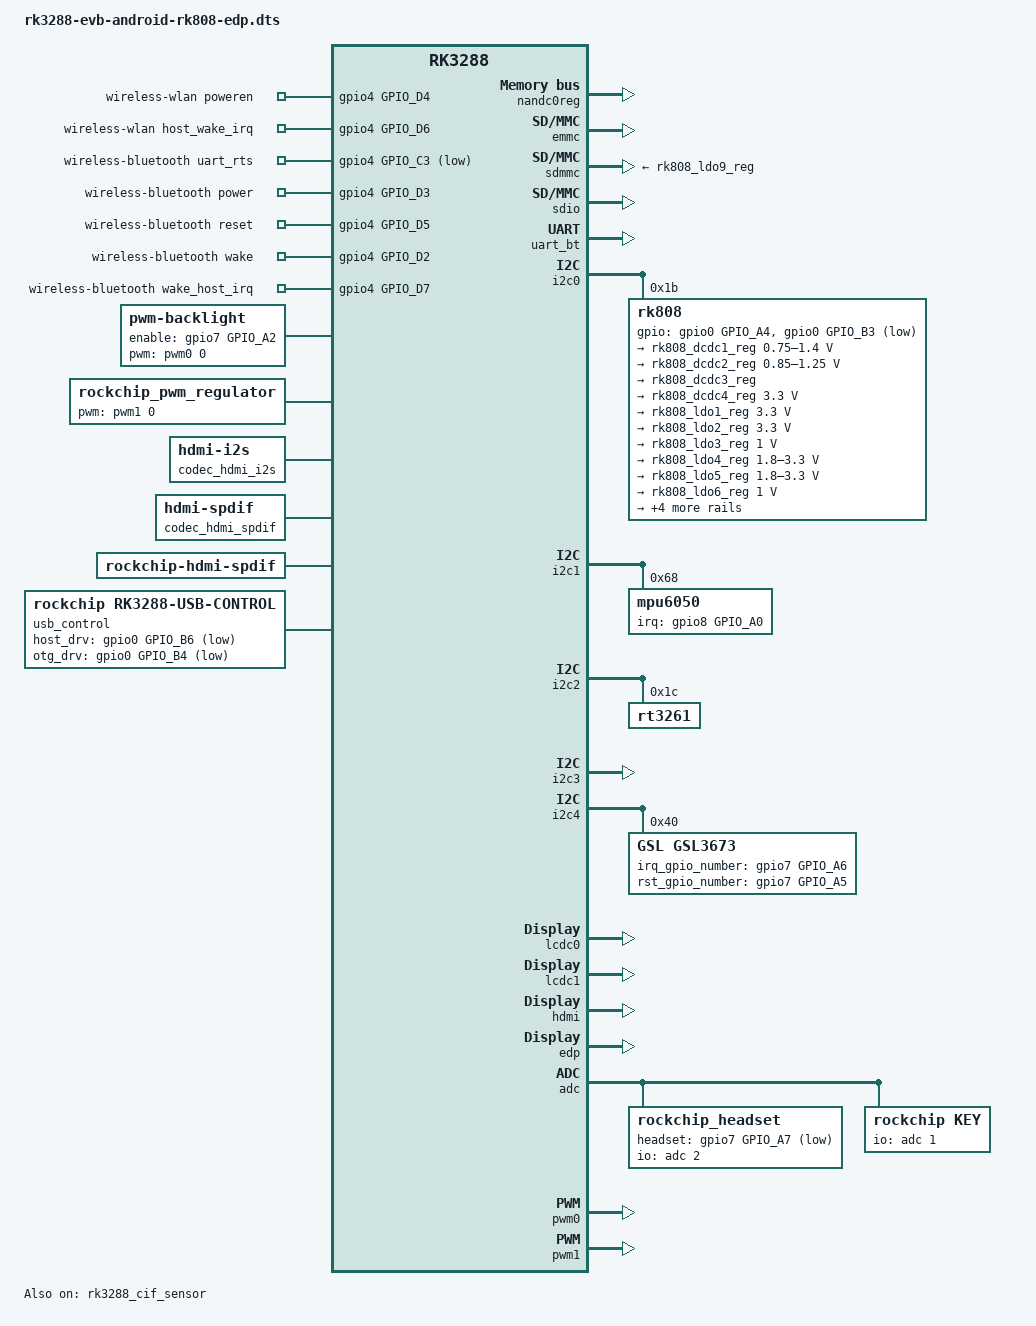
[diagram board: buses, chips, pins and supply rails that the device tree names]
// SPDX-License-Identifier: (GPL-2.0+ OR MIT)
/dts-v1/;

#include "rk3288.dtsi"
#include "lcd-F402.dtsi"
#include "rk3288-cif-sensor.dtsi"
/ {
	chosen {
		bootargs = "vmalloc=512M";
	};

	fiq-debugger {
		status = "okay";
	};

	wireless-wlan {
		compatible = "wlan-platdata";

		/* wifi_chip_type - wifi chip define
		 * ap6210, ap6330, ap6335
		 * rtl8188eu, rtl8723bs, rtl8723bu
		 * esp8089
		 */
		wifi_chip_type = "ap6335";

		sdio_vref = <1800>; //1800mv or 3300mv

		WIFI,poweren_gpio = <&gpio4 GPIO_D4 GPIO_ACTIVE_HIGH>;
		WIFI,host_wake_irq = <&gpio4 GPIO_D6 GPIO_ACTIVE_HIGH>;

		status = "okay";
	};

	wireless-bluetooth {
		compatible = "bluetooth-platdata";

		uart_rts_gpios = <&gpio4 GPIO_C3 GPIO_ACTIVE_LOW>;
		pinctrl-names = "default","rts_gpio";
		pinctrl-0 = <&uart0_rts>;
		pinctrl-1 = <&uart0_rts_gpio>;

		BT,power_gpio = <&gpio4 GPIO_D3 GPIO_ACTIVE_HIGH>;
		BT,reset_gpio = <&gpio4 GPIO_D5 GPIO_ACTIVE_HIGH>;
		BT,wake_gpio = <&gpio4 GPIO_D2 GPIO_ACTIVE_HIGH>;
		BT,wake_host_irq = <&gpio4 GPIO_D7 GPIO_ACTIVE_HIGH>;

		status = "okay";
	};

	backlight: backlight {
		compatible = "pwm-backlight";
		pwms = <&pwm0 0 25000>;
		brightness-levels = <
			  0   1   2   3   4   5   6   7
			  8   9  10  11  12  13  14  15
			 16  17  18  19  20  21  22  23
			 24  25  26  27  28  29  30  31
			 32  33  34  35  36  37  38  39
			 40  41  42  43  44  45  46  47
			 48  49  50  51  52  53  54  55
			 56  57  58  59  60  61  62  63
			 64  65  66  67  68  69  70  71
			 72  73  74  75  76  77  78  79
			 80  81  82  83  84  85  86  87
			 88  89  90  91  92  93  94  95
			 96  97  98  99 100 101 102 103
			104 105 106 107 108 109 110 111
			112 113 114 115 116 117 118 119
			120 121 122 123 124 125 126 127
			128 129 130 131 132 133 134 135
			136 137 138 139 140 141 142 143
			144 145 146 147 148 149 150 151
			152 153 154 155 156 157 158 159
			160 161 162 163 164 165 166 167
			168 169 170 171 172 173 174 175
			176 177 178 179 180 181 182 183
			184 185 186 187 188 189 190 191
			192 193 194 195 196 197 198 199
			200 201 202 203 204 205 206 207
			208 209 210 211 212 213 214 215
			216 217 218 219 220 221 222 223
			224 225 226 227 228 229 230 231
			232 233 234 235 236 237 238 239
			240 241 242 243 244 245 246 247
			248 249 250 251 252 253 254 255>;
		default-brightness-level = <128>;
		enable-gpios = <&gpio7 GPIO_A2 GPIO_ACTIVE_HIGH>;
	};

	pwm_regulator {
		compatible = "rockchip_pwm_regulator";
		status = "okay";
		pwms = <&pwm1 0 2000>;
		rockchip,pwm_id= <1>;
		rockchip,pwm_voltage_map= <925000 950000 975000
								   1000000 1025000
								   1050000 1075000
								   1100000 1125000
								   1150000 1175000
								   1200000 1225000
								   1250000 1275000
								   1300000 1325000
								   1350000 1375000
								   1400000>;
		rockchip,pwm_voltage= <1000000>;
		rockchip,pwm_min_voltage= <925000>;
		rockchip,pwm_max_voltage= <1400000>;
		rockchip,pwm_suspend_voltage= <950000>;
		rockchip,pwm_coefficient= <475>;
		regulators {
			#address-cells = <1>;
			#size-cells = <0>;
			pwm_reg0: regulator@0 {
				regulator-compatible = "pwm_dcdc1";
				regulator-name= "vdd_logic";
				regulator-min-microvolt = <925000>;
				regulator-max-microvolt = <1400000>;
				regulator-always-on;
				regulator-boot-on;
			};
		};
	};

	codec_hdmi_i2s: codec-hdmi-i2s {
		compatible = "hdmi-i2s";
	};

	codec_hdmi_spdif: codec-hdmi-spdif {
		compatible = "hdmi-spdif";
	};

	rockchip-hdmi-i2s {
		compatible = "rockchip-hdmi-i2s";
		dais {
			dai0 {
				audio-codec = <&codec_hdmi_i2s>;
				audio-controller = <&i2s>;
				format = "i2s";
			};
		};
	};

	rockchip-hdmi-spdif {
		compatible = "rockchip-hdmi-spdif";
		dais {
			dai0 {
				audio-codec = <&codec_hdmi_spdif>;
				audio-controller = <&spdif>;
			};
		};
	};

	rockchip-rt3224 {
		compatible = "rockchip-rt3261";
		dais {
			dai0 {
				audio-codec = <&rt3261>;
				audio-controller = <&i2s>;
				format = "i2s";
				//continuous-clock;
				//bitclock-inversion;
				//frame-inversion;
				//bitclock-master;
				//frame-master;
			};
			dai1 {
				audio-codec = <&rt3261>;
				audio-controller = <&i2s>;
				format = "dsp_a";
				//continuous-clock;
				bitclock-inversion;
				//frame-inversion;
				//bitclock-master;
				//frame-master;
			};
		};
	};

	usb_control {
		compatible = "rockchip,rk3288-usb-control";

		host_drv_gpio = <&gpio0 GPIO_B6 GPIO_ACTIVE_LOW>;
		otg_drv_gpio = <&gpio0 GPIO_B4 GPIO_ACTIVE_LOW>;

		rockchip,remote_wakeup;
		rockchip,usb_irq_wakeup;
	};

	test-power{
		status = "okay";
	};
};

&gmac {
	power-gpio = <&gpio0 GPIO_A6 GPIO_ACTIVE_HIGH>;
	phy-mode = "rgmii";
	clock_in_out = "input";
	tx_delay = <0x28>;
	rx_delay = <0x10>;
	status = "disabled"; //if want to use gmac, please set "okay"
};

&pinctrl {
	/* used for init some gpio */
	init-gpios = <&gpio0 GPIO_A6 GPIO_ACTIVE_HIGH>,
		     <&gpio7 GPIO_B0 GPIO_ACTIVE_HIGH>;

	gpio0_gpio {
		gpio0_c2: gpio0-c2 {
			rockchip,pins = <GPIO0_C2>;
			rockchip,pull = <VALUE_PULL_DOWN>;
		};
	};

	gpio7_gpio {
		gpio7_a7: gpio7-a7 {
			rockchip,pins = <GPIO7_A7>;
			rockchip,pull = <VALUE_PULL_DOWN>;
		};
	};

	/* could add other pinctrl definition such as gpio */

	/* gmac drive strength */
	gpio4_gmac {
		mac_clk: mac-clk {
			rockchip,drive = <VALUE_DRV_12MA>;
		};

		mac_txpins: mac-txpins {
			rockchip,drive = <VALUE_DRV_12MA>;
		};

		mac_rxpins: mac-rxpins {
			rockchip,drive = <VALUE_DRV_12MA>;
		};

		mac_crs: mac-crs {
			rockchip,drive = <VALUE_DRV_12MA>;
		};

		mac_mdpins: mac-mdpins {
			rockchip,drive = <VALUE_DRV_12MA>;
		};
	};
};

&nandc0 {
	status = "disabled";
};

&nandc1 {
	status = "disabled";
};

&nandc0reg {
	status = "okay";
};

&emmc {
	clock-frequency = <100000000>;
	clock-freq-min-max = <400000 100000000>;

	supports-highspeed;
	supports-emmc;
	//supports-sd;
	bootpart-no-access;

	/* you should set below two value in your project.
	 * only close in RK3288-SDK board.
	 */
	//supports-DDR_MODE;
	//caps2-mmc-hs200;

	ignore-pm-notify;
	keep-power-in-suspend;

	//poll-hw-reset
	status = "okay";
};

&sdmmc {
	clock-frequency = <50000000>;
	clock-freq-min-max = <400000 50000000>;
	supports-highspeed;
	supports-sd;
	broken-cd;
	card-detect-delay = <200>;

	ignore-pm-notify;
	keep-power-in-suspend;

	vmmc-supply = <&rk808_ldo9_reg>;
	status = "okay";
};

&sdio {
	clock-frequency = <50000000>;
	clock-freq-min-max = <200000 50000000>;
	supports-highspeed;
	supports-sdio;
	ignore-pm-notify;
	keep-power-in-suspend;
	//cap-sdio-irq;
	status = "okay";
};

&spi0 {
	status = "disabled";
	max-freq = <48000000>;

	spi_test@00 {
		compatible = "rockchip,spi_test_bus0_cs0";
		status = "disabled";
		reg = <0>;
		spi-max-frequency = <24000000>;
		//spi-cpha;
		//spi-cpol;
		poll_mode = <0>;
		type = <0>;
		enable_dma = <0>;
	};

	spi_test@01 {
		compatible = "rockchip,spi_test_bus0_cs1";
		status = "disabled";
		reg = <1>;
		spi-max-frequency = <24000000>;
		spi-cpha;
		spi-cpol;
		poll_mode = <0>;
		type = <0>;
		enable_dma = <0>;
	};
};

&spi1 {
	status = "disabled";
	max-freq = <48000000>;

	spi_test@10 {
		compatible = "rockchip,spi_test_bus1_cs0";
		status = "disabled";
		reg = <0>;
		spi-max-frequency = <24000000>;
		//spi-cpha;
		//spi-cpol;
		poll_mode = <0>;
		type = <0>;
		enable_dma = <0>;
	};
};

&spi2 {
	status = "disabled";
	max-freq = <48000000>;

	spi_test@20 {
		compatible = "rockchip,spi_test_bus2_cs0";
		status = "disabled";
		reg = <0>;
		spi-max-frequency = <24000000>;
		//spi-cpha;
		//spi-cpol;
		poll_mode = <0>;
		type = <0>;
		enable_dma = <0>;
	};

	spi_test@21 {
		compatible = "rockchip,spi_test_bus2_cs1";
		status = "disabled";
		reg = <1>;
		spi-max-frequency = <24000000>;
		//spi-cpha;
		//spi-cpol;
		poll_mode = <0>;
		type = <0>;
		enable_dma = <0>;
	};
};

&uart_bt {
		status = "okay";
		dma-names = "!tx", "!rx";
		pinctrl-0 = <&uart0_xfer &uart0_cts>;
};

&i2c0 {
	status = "okay";

	rk808: rk808@1b {
		reg = <0x1b>;
		status = "okay";
	};

	CW2015@62 {
		compatible = "cw201x";
		status = "disabled";
		reg = <0x62>;
		dc_det_gpio = <&gpio0 GPIO_B0 GPIO_ACTIVE_LOW>;
		bat_low_gpio = <&gpio0 GPIO_A7 GPIO_ACTIVE_LOW>;
		chg_ok_gpio = <&gpio0 GPIO_B1 GPIO_ACTIVE_HIGH>;
		bat_config_info = <0x15 0x42 0x60 0x59 0x52 0x58
						   0x4D 0x48 0x48 0x44 0x44 0x46
						   0x49 0x48 0x32 0x24 0x20 0x17
						   0x13 0x0F 0x19 0x3E 0x51 0x45
						   0x08 0x76 0x0B 0x85 0x0E 0x1C
						   0x2E 0x3E 0x4D 0x52 0x52 0x57
						   0x3D 0x1B 0x6A 0x2D 0x25 0x43
						   0x52 0x87 0x8F 0x91 0x94 0x52
						   0x82 0x8C 0x92 0x96 0xFF 0x7B
						   0xBB 0xCB 0x2F 0x7D 0x72 0xA5
						   0xB5 0xC1 0x46 0xAE>;
		is_dc_charge = <1>;
		is_usb_charge = <0>;
	};
};

&i2c1 {
	status = "okay";
	mpu6050:mpu@68{
		compatible = "mpu6050";
		status = "okay";
		reg = <0x68>;
		mpu-int_config = <0x10>;
		mpu-level_shifter = <0>;
		mpu-orientation = <0 1 0 1 0 0 0 0 1>;
		orientation-x= <0>;
		orientation-y= <1>;
		orientation-z= <0>;
		irq-gpio = <&gpio8 GPIO_A0 IRQ_TYPE_LEVEL_LOW>;
		mpu-debug = <0>;
	};
};

&i2c2 {
	status = "okay";

	rt3261: rt3261@1c {
		compatible = "rt3261";
		reg = <0x1c>;
	//	codec-en-gpio = <0>;//sdk default high level
		spk-num= <2>;
		modem-input-mode = <1>;
		lout-to-modem_mode = <1>;
		spk-amplify = <2>;
		playback-if1-data_control = <0>;
		playback-if2-data_control = <0>;
	};

};

&i2c3 {
	status = "okay";
};

&i2c4 {
	status = "okay";

	gsl3673: gsl3673@40 {
		compatible = "GSL,GSL3673";
		status = "okay";
		reg = <0x40>;
		screen_max_x = <1536>;
		screen_max_y = <2048>;
		irq_gpio_number = <&gpio7 GPIO_A6 IRQ_TYPE_LEVEL_LOW>;
		rst_gpio_number = <&gpio7 GPIO_A5 GPIO_ACTIVE_HIGH>;
	};
};

&i2c5 {
	status = "disabled";
};

&fb {
	rockchip,disp-mode = <DUAL>;
	rockchip,uboot-logo-on = <0>;
};

&rk_screen {
	 display-timings = <&disp_timings>;
};

/*lcdc0 as PRMRY(LCD),lcdc1 as EXTEND(HDMI)*/
&lcdc0 {
	status = "okay";
	rockchip,mirror = <NO_MIRROR>;
	rockchip,cabc_mode = <0>;
	power_ctr: power_ctr {
		rockchip,debug = <0>;
		/*lcd_18:lcd18 {
		 *	rockchip,power_type = <REGULATOR>;
		 *	rockchip,regulator_name = "vcc_18";
		 *	rockchip,regulator_voltage = <1800000>;
		 *	rockchip,delay = <5>;
		 *};
		 */

		lcd_en:lcd_en {
			rockchip,power_type = <GPIO>;
			gpios = <&gpio7 GPIO_A3 GPIO_ACTIVE_HIGH>;
			rockchip,delay = <10>;
		};

		lcd_cs:lcd_cs {
			rockchip,power_type = <GPIO>;
			gpios = <&gpio7 GPIO_A4 GPIO_ACTIVE_HIGH>;
			rockchip,delay = <10>;
		};

		/*lcd_rst:lcd_rst {
		 *	rockchip,power_type = <GPIO>;
		 *	gpios = <&gpio3 GPIO_D6 GPIO_ACTIVE_HIGH>;
		 *	rockchip,delay = <5>;
		 *};
		 */

	};
};

&lcdc1 {
	status = "okay";
	rockchip,mirror = <ROTATE_270>;

};

&hdmi {
	status = "okay";
	rockchip,hdmi_video_source = <DISPLAY_SOURCE_LCDC1>;
};

&edp {
	status = "okay";
};

&adc {
	status = "okay";

	rockchip_headset {
		compatible = "rockchip_headset";
		headset_gpio = <&gpio7 GPIO_A7 GPIO_ACTIVE_LOW>;
		pinctrl-names = "default";
		pinctrl-0 = <&gpio7_a7>;
		io-channels = <&adc 2>;
	};

	key {
		compatible = "rockchip,key";
		io-channels = <&adc 1>;

		vol-up-key {
			linux,code = <115>;
			label = "volume up";
			rockchip,adc_value = <1>;
		};

		vol-down-key {
			linux,code = <114>;
			label = "volume down";
			rockchip,adc_value = <170>;
		};

		power-key {
			gpios = <&gpio0 GPIO_A5 GPIO_ACTIVE_LOW>;
			linux,code = <116>;
			label = "power";
			gpio-key,wakeup;
		};

		menu-key {
			linux,code = <59>;
			label = "menu";
			rockchip,adc_value = <355>;
		};

		home-key {
			linux,code = <102>;
			label = "home";
			rockchip,adc_value = <746>;
		};

		back-key {
			linux,code = <158>;
			label = "back";
			rockchip,adc_value = <560>;
		};

		camera-key {
			linux,code = <212>;
			label = "camera";
			rockchip,adc_value = <450>;
		};
	};
};

&pwm0 {
	status = "okay";
};

&pwm1 {
	status = "okay";
};

&clk_core_dvfs_table {
	operating-points = <
		/* KHz    uV */
		126000			900000
		216000			900000
		312000			900000
		408000			900000
		600000			900000
		696000			950000
		816000			1000000
		1008000			1050000
		1200000			1100000
		1416000			1200000
		1512000			1300000
		1608000			1350000
	>;
	support-pvtm = <1>;
	pvtm-operating-points = <
		/* KHz    uV    margin(uV)*/
		126000		900000		25000
		216000		900000		25000
		312000		900000		25000
		408000		900000		25000
		600000		900000		25000
		696000		950000		25000
		816000		1000000		25000
		1008000		1050000		25000
		1200000		1100000		25000
		1416000		1200000		25000
		1512000		1300000		25000
		1608000		1350000		25000
	>;
	status="okay";
};

&clk_gpu_dvfs_table {
	operating-points = <
		/* KHz    uV */
		100000			900000
		200000			900000
		300000			950000
		420000			1050000
		500000			1150000
	>;
	status="okay";
};

&clk_ddr_dvfs_table {
	operating-points = <
		/* KHz    uV */
		200000			1050000
		300000			1050000
		400000			1100000
		533000			1150000
		>;

	freq-table = <
		/*status		freq(KHz)*/
		SYS_STATUS_NORMAL			400000
		SYS_STATUS_SUSPEND			200000
		SYS_STATUS_VIDEO_1080P		240000
		SYS_STATUS_VIDEO_4K			400000
		/*SYS_STATUS_VIDEO_4K_60FPS	400000*/
		SYS_STATUS_PERFORMANCE		528000
		SYS_STATUS_DUALVIEW			400000
		SYS_STATUS_BOOST			324000
		SYS_STATUS_ISP				400000
	>;
	bd-freq-table = <
		/* bandwidth   freq */
		5000			800000
		3500			456000
		2600			396000
		2000			324000
	>;
	auto-freq-table = <
		240000
		324000
		396000
		528000
		>;
	auto-freq=<1>;
	/*
	 * 0: use standard flow
	 * 1: vop dclk never divided
	 * 2: vop dclk always divided
	 */
	vop-dclk-mode = <0>;
	status="okay";
};

/include/ "rk808.dtsi"
&rk808 {
	gpios = <&gpio0 GPIO_A4 GPIO_ACTIVE_HIGH>,
			<&gpio0 GPIO_B3 GPIO_ACTIVE_LOW>;
	rk808,system-power-controller;

	regulators {
		rk808_dcdc1_reg: regulator@0 {
			regulator-always-on;
			regulator-boot-on;
			regulator-min-microvolt = <750000>;
			regulator-max-microvolt = <1400000>;
			regulator-name = "vdd_arm";
			regulator-state-mem {
				regulator-off-in-suspend;
			};
		};

		rk808_dcdc2_reg: regulator@1 {
			regulator-always-on;
			regulator-boot-on;
			regulator-min-microvolt = <850000>;
			regulator-max-microvolt = <1250000>;
			regulator-name = "vdd_gpu";
			regulator-ramp-delay = <6000>;
			regulator-state-mem {
				regulator-off-in-suspend;
			};
		};

		rk808_dcdc3_reg: regulator@2 {
			regulator-always-on;
			regulator-boot-on;
			regulator-name = "vcc_ddr";
			regulator-state-mem {
				regulator-on-in-suspend;
			};
		};

		rk808_dcdc4_reg: regulator@3 {
			regulator-always-on;
			regulator-boot-on;
			regulator-min-microvolt = <3300000>;
			regulator-max-microvolt = <3300000>;
			regulator-name = "vcc_io";
			regulator-state-mem {
				regulator-on-in-suspend;
				regulator-suspend-microvolt = <3300000>;
			};
		};

		rk808_ldo1_reg: regulator@4 {
			regulator-always-on;
			regulator-boot-on;
			regulator-min-microvolt = <3300000>;
			regulator-max-microvolt = <3300000>;
			regulator-name = "vcc_tp";
			regulator-state-mem {
				regulator-off-in-suspend;
			};
		};

		rk808_ldo2_reg: regulator@5 {
			regulator-always-on;
			regulator-boot-on;
			regulator-min-microvolt = <3300000>;
			regulator-max-microvolt = <3300000>;
			regulator-name = "vcca_codec";
			regulator-state-mem {
				regulator-off-in-suspend;
			};
		};

		rk808_ldo3_reg: regulator@6 {
			regulator-always-on;
			regulator-boot-on;
			regulator-min-microvolt = <1000000>;
			regulator-max-microvolt = <1000000>;
			regulator-name = "vdd_10";
			regulator-state-mem {
				regulator-on-in-suspend;
				regulator-suspend-microvolt = <1000000>;
			};
		};

		rk808_ldo4_reg:regulator@7 {
			regulator-always-on;
			regulator-boot-on;
			regulator-min-microvolt = <1800000>;
			regulator-max-microvolt = <3300000>;
			regulator-name = "vcc_wl";
			regulator-state-mem {
				regulator-off-in-suspend;
			};
		};

		rk808_ldo5_reg: regulator@8 {
			regulator-always-on;
			regulator-boot-on;
			regulator-min-microvolt = <1800000>;
			regulator-max-microvolt = <3300000>;
			regulator-name = "vccio_sd";
			regulator-state-mem {
				regulator-on-in-suspend;
				regulator-suspend-microvolt = <3300000>;
			};
		};

		rk808_ldo6_reg: regulator@9 {
			regulator-always-on;
			regulator-boot-on;
			regulator-min-microvolt = <1000000>;
			regulator-max-microvolt = <1000000>;
			regulator-name = "vdd10_lcd";
			regulator-state-mem {
				regulator-off-in-suspend;
			};
		};

		rk808_ldo7_reg: regulator@10 {
			regulator-always-on;
			regulator-boot-on;
			regulator-min-microvolt = <1800000>;
			regulator-max-microvolt = <1800000>;
			regulator-name = "vcc_18";
			regulator-state-mem {
				regulator-on-in-suspend;
				regulator-suspend-microvolt = <1800000>;
			};
		};

		rk808_ldo8_reg: regulator@11 {
			regulator-always-on;
			regulator-boot-on;
			regulator-min-microvolt = <1800000>;
			regulator-max-microvolt = <1800000>;
			regulator-name = "vcc18_lcd";
			regulator-state-mem {
				regulator-off-in-suspend;
			};
		};

		rk808_ldo9_reg: regulator@12 {
			regulator-always-on;
			regulator-boot-on;
			regulator-min-microvolt = <3300000>;
			regulator-max-microvolt = <3300000>;
			regulator-name = "vcc_sd";
			regulator-state-mem {
				regulator-on-in-suspend;
			};
		};

		rk808_ldo10_reg: regulator@13 {
			regulator-always-on;
			regulator-boot-on;
			regulator-min-microvolt = <3300000>;
			regulator-max-microvolt = <3300000>;
			regulator-name = "vcc_lcd";
			regulator-state-mem {
				regulator-off-in-suspend;
			};
		};
	};
};

&lcdc_vdd_domain {
	regulator-name = "vcc_lcd";
};

&dpio_vdd_domain{
	regulator-name = "vcc_io";
};

&flash0_vdd_domain{
	regulator-name = "vcc_18";
};

&flash1_vdd_domain{
	regulator-name = "vcc_io";
};

&apio3_vdd_domain{
	regulator-name = "vcc_wl";
};

&apio5_vdd_domain{
	regulator-name = "vcc_io";
};

&apio4_vdd_domain{
	regulator-name = "vcc_io";
};

&apio1_vdd_domain{
	regulator-name = "vcc_io";
};

&apio2_vdd_domain{
	regulator-name = "vcc_io";
};

&sdmmc0_vdd_domain{
	regulator-name = "vccio_sd";
};

&dwc_control_usb {
	usb_uart {
		status = "disabled";
	};
};

&rk3288_cif_sensor{
	status = "okay";
};

